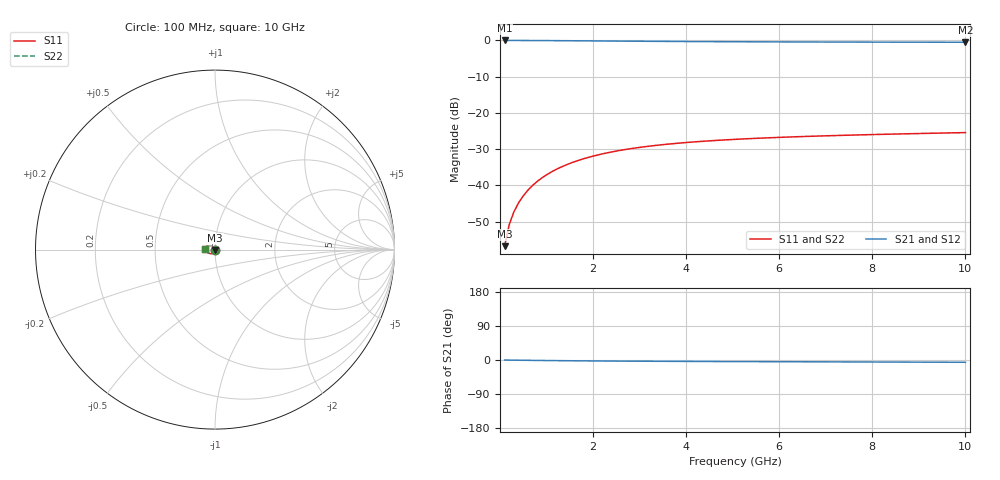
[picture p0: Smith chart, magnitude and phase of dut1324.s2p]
! Touchstone file exported from HFSS 2024.1.0
!  File:  C:/UserFiles/LocalFiles/RDL_TSV_Batchsim/temp_TSV1_1324_1780374573.aedt
!  Generated:  12:36:04 PM Jun  2, 2026
!  Design:  TSV1
!  Project:  temp_TSV1_1324_1780374573
!  Setup:  Setup1
!  Solution:  Sweep
! Variables:
!  dtsv = 10.27um
!  hbump = 3um
!  htsv = 94.79um
!  lrdl = 252.1521522um
!  p = 40
!  p1 = 53.06um
!  t = 500um
!  trdl = 3um
!  wrdl = 24.89489489um
# GHz S MA R 50.000000
! Terminal data exported
! Port[1] = TSV22_T1
! Port[2] = TSV22_T2
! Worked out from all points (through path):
!   100 points, 100 MHz to 10 GHz, reference 50 ohm
!   highest |S21| = 0.00 dB at 100 MHz (marker M1); lowest = -0.5 dB at 10 GHz (marker M2)
!   lowest |S11| = -56.8 dB at 100 MHz (marker M3), VSWR 1.00, Z = 50 - j0.144 ohm
!   |S11| at or under -10 dB: start of sweep to end of sweep
!   |S22| runs from -56.8 to -25.4 dB; largest |S21 - S12| = 1.2e-14
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0.1  0.001444 -85.8  0.9998 -0.1  0.9998 -0.1  0.001444 -85.8
! Gamma 0 0 0 0
! Port Impedance 50 0 50 0
0.2  0.002876 -90.6  0.9996 -0.3  0.9996 -0.3  0.002876 -90.6
0.3  0.004308 -93.4  0.9994 -0.4  0.9994 -0.4  0.004308 -93.4
0.4  0.005735 -95.7  0.999 -0.6  0.999 -0.6  0.005735 -95.7
0.5  0.007151 -97.9  0.9986 -0.7  0.9986 -0.7  0.007151 -97.9
0.6  0.008552 -99.9  0.9981 -0.9  0.9981 -0.9  0.008552 -99.9
0.7  0.009935 -101.9  0.9975 -1.0  0.9975 -1.0  0.009935 -101.9
0.8  0.0113 -103.8  0.9969 -1.1  0.9969 -1.1  0.0113 -103.8
0.9  0.01263 -105.7  0.9961 -1.3  0.9961 -1.3  0.01263 -105.7
1.1  0.01522 -109.4  0.9945 -1.5  0.9945 -1.5  0.01522 -109.4
1.4  0.01888 -114.7  0.9917 -1.9  0.9917 -1.9  0.01888 -114.7
1.6  0.02115 -118.0  0.9897 -2.1  0.9897 -2.1  0.02115 -118.0
1.8  0.02328 -121.2  0.9876 -2.3  0.9876 -2.3  0.02328 -121.2
2.1  0.02623 -125.7  0.9844 -2.5  0.9844 -2.5  0.02623 -125.7
2.5  0.02969 -131.3  0.9802 -2.9  0.9802 -2.9  0.02969 -131.3
2.9  0.03269 -136.4  0.9762 -3.1  0.9762 -3.1  0.03269 -136.4
3.4  0.03585 -142.2  0.9715 -3.4  0.9715 -3.4  0.03585 -142.1
4.2  0.03985 -150.2  0.9652 -3.8  0.9652 -3.8  0.03985 -150.2
5.1  0.04325 -157.7  0.9595 -4.2  0.9595 -4.2  0.04325 -157.7
6.7  0.04756 -168.7  0.9524 -4.8  0.9524 -4.8  0.04756 -168.7
8.4  0.05087 -178.0  0.9475 -5.4  0.9475 -5.4  0.05087 -178.0
10  0.05342 174.7  0.9444 -6.0  0.9444 -6.0  0.05342 174.7
